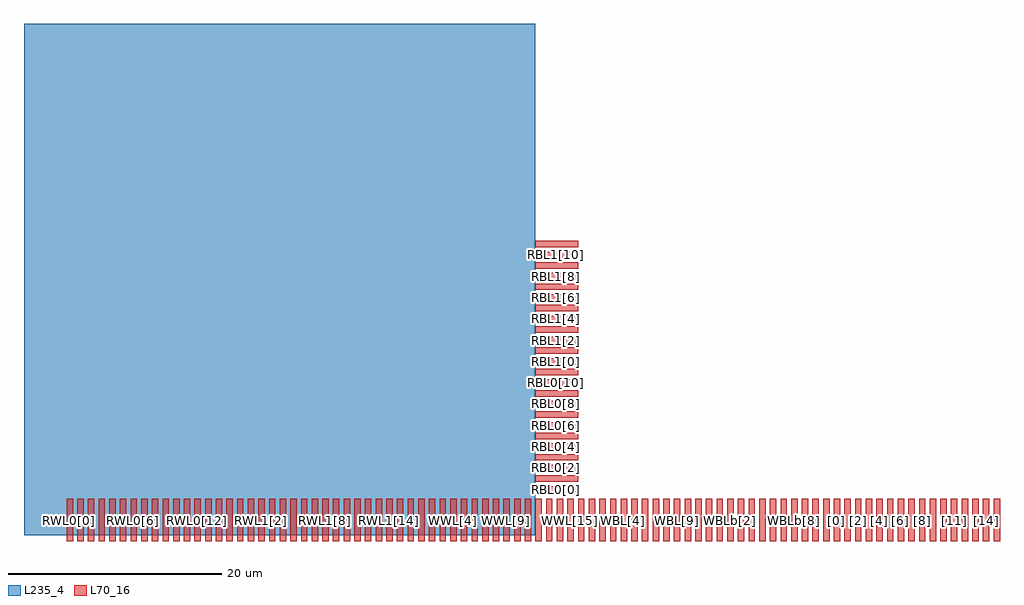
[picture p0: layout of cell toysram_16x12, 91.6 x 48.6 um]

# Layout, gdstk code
import gdstk
lib = gdstk.Library(unit=1e-6, precision=1e-09)
def R(c, l, rs):  # rectangles x0, y0, x1, y1
    for r in rs: c.add(gdstk.rectangle(r[:2], r[2:], *l))
L70_16 = (70, 16)
L235_4 = (235, 4)

rwl0_0_ = lib.new_cell('RWL0[0]')
R(rwl0_0_, L70_16, [(4,-0.6,4.6,3.4)])

rwl0_1_ = lib.new_cell('RWL0[1]')
R(rwl0_1_, L70_16, [(5,-0.6,5.6,3.4)])

rwl0_2_ = lib.new_cell('RWL0[2]')
R(rwl0_2_, L70_16, [(6,-0.6,6.6,3.4)])

rwl0_3_ = lib.new_cell('RWL0[3]')
R(rwl0_3_, L70_16, [(7,-0.6,7.6,3.4)])

rwl0_4_ = lib.new_cell('RWL0[4]')
R(rwl0_4_, L70_16, [(8,-0.6,8.6,3.4)])

rwl0_5_ = lib.new_cell('RWL0[5]')
R(rwl0_5_, L70_16, [(9,-0.6,9.6,3.4)])

rwl0_6_ = lib.new_cell('RWL0[6]')
R(rwl0_6_, L70_16, [(10,-0.6,10.6,3.4)])

rwl0_7_ = lib.new_cell('RWL0[7]')
R(rwl0_7_, L70_16, [(11,-0.6,11.6,3.4)])

rwl0_8_ = lib.new_cell('RWL0[8]')
R(rwl0_8_, L70_16, [(12,-0.6,12.6,3.4)])

rwl0_9_ = lib.new_cell('RWL0[9]')
R(rwl0_9_, L70_16, [(13,-0.6,13.6,3.4)])

rwl0_10_ = lib.new_cell('RWL0[10]')
R(rwl0_10_, L70_16, [(14,-0.6,14.6,3.4)])

rwl0_11_ = lib.new_cell('RWL0[11]')
R(rwl0_11_, L70_16, [(15,-0.6,15.6,3.4)])

rwl0_12_ = lib.new_cell('RWL0[12]')
R(rwl0_12_, L70_16, [(16,-0.6,16.6,3.4)])

rwl0_13_ = lib.new_cell('RWL0[13]')
R(rwl0_13_, L70_16, [(17,-0.6,17.6,3.4)])

rwl0_14_ = lib.new_cell('RWL0[14]')
R(rwl0_14_, L70_16, [(18,-0.6,18.6,3.4)])

rwl0_15_ = lib.new_cell('RWL0[15]')
R(rwl0_15_, L70_16, [(19,-0.6,19.6,3.4)])

rwl1_0_ = lib.new_cell('RWL1[0]')
R(rwl1_0_, L70_16, [(20,-0.6,20.6,3.4)])

rwl1_1_ = lib.new_cell('RWL1[1]')
R(rwl1_1_, L70_16, [(21,-0.6,21.6,3.4)])

rwl1_2_ = lib.new_cell('RWL1[2]')
R(rwl1_2_, L70_16, [(22,-0.6,22.6,3.4)])

rwl1_3_ = lib.new_cell('RWL1[3]')
R(rwl1_3_, L70_16, [(23,-0.6,23.6,3.4)])

rwl1_4_ = lib.new_cell('RWL1[4]')
R(rwl1_4_, L70_16, [(24,-0.6,24.6,3.4)])

rwl1_5_ = lib.new_cell('RWL1[5]')
R(rwl1_5_, L70_16, [(25,-0.6,25.6,3.4)])

rwl1_6_ = lib.new_cell('RWL1[6]')
R(rwl1_6_, L70_16, [(26,-0.6,26.6,3.4)])

rwl1_7_ = lib.new_cell('RWL1[7]')
R(rwl1_7_, L70_16, [(27,-0.6,27.6,3.4)])

rwl1_8_ = lib.new_cell('RWL1[8]')
R(rwl1_8_, L70_16, [(28,-0.6,28.6,3.4)])

rwl1_9_ = lib.new_cell('RWL1[9]')
R(rwl1_9_, L70_16, [(29,-0.6,29.6,3.4)])

rwl1_10_ = lib.new_cell('RWL1[10]')
R(rwl1_10_, L70_16, [(30,-0.6,30.6,3.4)])

rwl1_11_ = lib.new_cell('RWL1[11]')
R(rwl1_11_, L70_16, [(31,-0.6,31.6,3.4)])

rwl1_12_ = lib.new_cell('RWL1[12]')
R(rwl1_12_, L70_16, [(32,-0.6,32.6,3.4)])

rwl1_13_ = lib.new_cell('RWL1[13]')
R(rwl1_13_, L70_16, [(33,-0.6,33.6,3.4)])

rwl1_14_ = lib.new_cell('RWL1[14]')
R(rwl1_14_, L70_16, [(34,-0.6,34.6,3.4)])

rwl1_15_ = lib.new_cell('RWL1[15]')
R(rwl1_15_, L70_16, [(35,-0.6,35.6,3.4)])

wwl_0_ = lib.new_cell('WWL[0]')
R(wwl_0_, L70_16, [(36,-0.6,36.6,3.4)])

wwl_1_ = lib.new_cell('WWL[1]')
R(wwl_1_, L70_16, [(37,-0.6,37.6,3.4)])

wwl_2_ = lib.new_cell('WWL[2]')
R(wwl_2_, L70_16, [(38,-0.6,38.6,3.4)])

wwl_3_ = lib.new_cell('WWL[3]')
R(wwl_3_, L70_16, [(39,-0.6,39.6,3.4)])

wwl_4_ = lib.new_cell('WWL[4]')
R(wwl_4_, L70_16, [(40,-0.6,40.6,3.4)])

wwl_5_ = lib.new_cell('WWL[5]')
R(wwl_5_, L70_16, [(41,-0.6,41.6,3.4)])

wwl_6_ = lib.new_cell('WWL[6]')
R(wwl_6_, L70_16, [(42,-0.6,42.6,3.4)])

wwl_7_ = lib.new_cell('WWL[7]')
R(wwl_7_, L70_16, [(43,-0.6,43.6,3.4)])

wwl_8_ = lib.new_cell('WWL[8]')
R(wwl_8_, L70_16, [(44,-0.6,44.6,3.4)])

wwl_9_ = lib.new_cell('WWL[9]')
R(wwl_9_, L70_16, [(45,-0.6,45.6,3.4)])

wwl_10_ = lib.new_cell('WWL[10]')
R(wwl_10_, L70_16, [(46,-0.6,46.6,3.4)])

wwl_11_ = lib.new_cell('WWL[11]')
R(wwl_11_, L70_16, [(47,-0.6,47.6,3.4)])

wwl_12_ = lib.new_cell('WWL[12]')
R(wwl_12_, L70_16, [(48,-0.6,48.6,3.4)])

wwl_13_ = lib.new_cell('WWL[13]')
R(wwl_13_, L70_16, [(49,-0.6,49.6,3.4)])

wwl_14_ = lib.new_cell('WWL[14]')
R(wwl_14_, L70_16, [(50,-0.6,50.6,3.4)])

wwl_15_ = lib.new_cell('WWL[15]')
R(wwl_15_, L70_16, [(51,-0.6,51.6,3.4)])

rbl0_0_ = lib.new_cell('RBL0[0]')
R(rbl0_0_, L70_16, [(48,4,52,4.6)])

rbl0_1_ = lib.new_cell('RBL0[1]')
R(rbl0_1_, L70_16, [(48,5,52,5.6)])

rbl0_2_ = lib.new_cell('RBL0[2]')
R(rbl0_2_, L70_16, [(48,6,52,6.6)])

rbl0_3_ = lib.new_cell('RBL0[3]')
R(rbl0_3_, L70_16, [(48,7,52,7.6)])

rbl0_4_ = lib.new_cell('RBL0[4]')
R(rbl0_4_, L70_16, [(48,8,52,8.6)])

rbl0_5_ = lib.new_cell('RBL0[5]')
R(rbl0_5_, L70_16, [(48,9,52,9.6)])

rbl0_6_ = lib.new_cell('RBL0[6]')
R(rbl0_6_, L70_16, [(48,10,52,10.6)])

rbl0_7_ = lib.new_cell('RBL0[7]')
R(rbl0_7_, L70_16, [(48,11,52,11.6)])

rbl0_8_ = lib.new_cell('RBL0[8]')
R(rbl0_8_, L70_16, [(48,12,52,12.6)])

rbl0_9_ = lib.new_cell('RBL0[9]')
R(rbl0_9_, L70_16, [(48,13,52,13.6)])

rbl0_10_ = lib.new_cell('RBL0[10]')
R(rbl0_10_, L70_16, [(48,14,52,14.6)])

rbl0_11_ = lib.new_cell('RBL0[11]')
R(rbl0_11_, L70_16, [(48,15,52,15.6)])

rbl1_0_ = lib.new_cell('RBL1[0]')
R(rbl1_0_, L70_16, [(48,16,52,16.6)])

rbl1_1_ = lib.new_cell('RBL1[1]')
R(rbl1_1_, L70_16, [(48,17,52,17.6)])

rbl1_2_ = lib.new_cell('RBL1[2]')
R(rbl1_2_, L70_16, [(48,18,52,18.6)])

rbl1_3_ = lib.new_cell('RBL1[3]')
R(rbl1_3_, L70_16, [(48,19,52,19.6)])

rbl1_4_ = lib.new_cell('RBL1[4]')
R(rbl1_4_, L70_16, [(48,20,52,20.6)])

rbl1_5_ = lib.new_cell('RBL1[5]')
R(rbl1_5_, L70_16, [(48,21,52,21.6)])

rbl1_6_ = lib.new_cell('RBL1[6]')
R(rbl1_6_, L70_16, [(48,22,52,22.6)])

rbl1_7_ = lib.new_cell('RBL1[7]')
R(rbl1_7_, L70_16, [(48,23,52,23.6)])

rbl1_8_ = lib.new_cell('RBL1[8]')
R(rbl1_8_, L70_16, [(48,24,52,24.6)])

rbl1_9_ = lib.new_cell('RBL1[9]')
R(rbl1_9_, L70_16, [(48,25,52,25.6)])

rbl1_10_ = lib.new_cell('RBL1[10]')
R(rbl1_10_, L70_16, [(48,26,52,26.6)])

rbl1_11_ = lib.new_cell('RBL1[11]')
R(rbl1_11_, L70_16, [(48,27,52,27.6)])

wbl_0_ = lib.new_cell('WBL[0]')
R(wbl_0_, L70_16, [(52,-0.6,52.6,3.4)])

wbl_1_ = lib.new_cell('WBL[1]')
R(wbl_1_, L70_16, [(53,-0.6,53.6,3.4)])

wbl_2_ = lib.new_cell('WBL[2]')
R(wbl_2_, L70_16, [(54,-0.6,54.6,3.4)])

wbl_3_ = lib.new_cell('WBL[3]')
R(wbl_3_, L70_16, [(55,-0.6,55.6,3.4)])

wbl_4_ = lib.new_cell('WBL[4]')
R(wbl_4_, L70_16, [(56,-0.6,56.6,3.4)])

wbl_5_ = lib.new_cell('WBL[5]')
R(wbl_5_, L70_16, [(57,-0.6,57.6,3.4)])

wbl_6_ = lib.new_cell('WBL[6]')
R(wbl_6_, L70_16, [(58,-0.6,58.6,3.4)])

wbl_7_ = lib.new_cell('WBL[7]')
R(wbl_7_, L70_16, [(59,-0.6,59.6,3.4)])

wbl_8_ = lib.new_cell('WBL[8]')
R(wbl_8_, L70_16, [(60,-0.6,60.6,3.4)])

wbl_9_ = lib.new_cell('WBL[9]')
R(wbl_9_, L70_16, [(61,-0.6,61.6,3.4)])

wbl_10_ = lib.new_cell('WBL[10]')
R(wbl_10_, L70_16, [(62,-0.6,62.6,3.4)])

wbl_11_ = lib.new_cell('WBL[11]')
R(wbl_11_, L70_16, [(63,-0.6,63.6,3.4)])

wblb_0_ = lib.new_cell('WBLb[0]')
R(wblb_0_, L70_16, [(64,-0.6,64.6,3.4)])

wblb_1_ = lib.new_cell('WBLb[1]')
R(wblb_1_, L70_16, [(65,-0.6,65.6,3.4)])

wblb_2_ = lib.new_cell('WBLb[2]')
R(wblb_2_, L70_16, [(66,-0.6,66.6,3.4)])

wblb_3_ = lib.new_cell('WBLb[3]')
R(wblb_3_, L70_16, [(67,-0.6,67.6,3.4)])

wblb_4_ = lib.new_cell('WBLb[4]')
R(wblb_4_, L70_16, [(68,-0.6,68.6,3.4)])

wblb_5_ = lib.new_cell('WBLb[5]')
R(wblb_5_, L70_16, [(69,-0.6,69.6,3.4)])

wblb_6_ = lib.new_cell('WBLb[6]')
R(wblb_6_, L70_16, [(70,-0.6,70.6,3.4)])

wblb_7_ = lib.new_cell('WBLb[7]')
R(wblb_7_, L70_16, [(71,-0.6,71.6,3.4)])

wblb_8_ = lib.new_cell('WBLb[8]')
R(wblb_8_, L70_16, [(72,-0.6,72.6,3.4)])

wblb_9_ = lib.new_cell('WBLb[9]')
R(wblb_9_, L70_16, [(73,-0.6,73.6,3.4)])

wblb_10_ = lib.new_cell('WBLb[10]')
R(wblb_10_, L70_16, [(74,-0.6,74.6,3.4)])

wblb_11_ = lib.new_cell('WBLb[11]')
R(wblb_11_, L70_16, [(75,-0.6,75.6,3.4)])

c__0_ = lib.new_cell('[0]')
R(c__0_, L70_16, [(76,-0.6,76.6,3.4)])

c__1_ = lib.new_cell('[1]')
R(c__1_, L70_16, [(77,-0.6,77.6,3.4)])

c__2_ = lib.new_cell('[2]')
R(c__2_, L70_16, [(78,-0.6,78.6,3.4)])

c__3_ = lib.new_cell('[3]')
R(c__3_, L70_16, [(79,-0.6,79.6,3.4)])

c__4_ = lib.new_cell('[4]')
R(c__4_, L70_16, [(80,-0.6,80.6,3.4)])

c__5_ = lib.new_cell('[5]')
R(c__5_, L70_16, [(81,-0.6,81.6,3.4)])

c__6_ = lib.new_cell('[6]')
R(c__6_, L70_16, [(82,-0.6,82.6,3.4)])

c__7_ = lib.new_cell('[7]')
R(c__7_, L70_16, [(83,-0.6,83.6,3.4)])

c__8_ = lib.new_cell('[8]')
R(c__8_, L70_16, [(84,-0.6,84.6,3.4)])

c__9_ = lib.new_cell('[9]')
R(c__9_, L70_16, [(85,-0.6,85.6,3.4)])

c__10_ = lib.new_cell('[10]')
R(c__10_, L70_16, [(86,-0.6,86.6,3.4)])

c__11_ = lib.new_cell('[11]')
R(c__11_, L70_16, [(87,-0.6,87.6,3.4)])

c__12_ = lib.new_cell('[12]')
R(c__12_, L70_16, [(88,-0.6,88.6,3.4)])

c__13_ = lib.new_cell('[13]')
R(c__13_, L70_16, [(89,-0.6,89.6,3.4)])

c__14_ = lib.new_cell('[14]')
R(c__14_, L70_16, [(90,-0.6,90.6,3.4)])

c__15_ = lib.new_cell('[15]')
R(c__15_, L70_16, [(91,-0.6,91.6,3.4)])

toysram_16x12 = lib.new_cell('toysram_16x12')
R(toysram_16x12, L235_4, [(0,0,48,48)])
toysram_16x12.add(gdstk.Reference(rwl0_0_, (0,0)))
toysram_16x12.add(gdstk.Reference(rwl0_1_, (0,0)))
toysram_16x12.add(gdstk.Reference(rwl0_2_, (0,0)))
toysram_16x12.add(gdstk.Reference(rwl0_3_, (0,0)))
toysram_16x12.add(gdstk.Reference(rwl0_4_, (0,0)))
toysram_16x12.add(gdstk.Reference(rwl0_5_, (0,0)))
toysram_16x12.add(gdstk.Reference(rwl0_6_, (0,0)))
toysram_16x12.add(gdstk.Reference(rwl0_7_, (0,0)))
toysram_16x12.add(gdstk.Reference(rwl0_8_, (0,0)))
toysram_16x12.add(gdstk.Reference(rwl0_9_, (0,0)))
toysram_16x12.add(gdstk.Reference(rwl0_10_, (0,0)))
toysram_16x12.add(gdstk.Reference(rwl0_11_, (0,0)))
toysram_16x12.add(gdstk.Reference(rwl0_12_, (0,0)))
toysram_16x12.add(gdstk.Reference(rwl0_13_, (0,0)))
toysram_16x12.add(gdstk.Reference(rwl0_14_, (0,0)))
toysram_16x12.add(gdstk.Reference(rwl0_15_, (0,0)))
toysram_16x12.add(gdstk.Reference(rwl1_0_, (0,0)))
toysram_16x12.add(gdstk.Reference(rwl1_1_, (0,0)))
toysram_16x12.add(gdstk.Reference(rwl1_2_, (0,0)))
toysram_16x12.add(gdstk.Reference(rwl1_3_, (0,0)))
toysram_16x12.add(gdstk.Reference(rwl1_4_, (0,0)))
toysram_16x12.add(gdstk.Reference(rwl1_5_, (0,0)))
toysram_16x12.add(gdstk.Reference(rwl1_6_, (0,0)))
toysram_16x12.add(gdstk.Reference(rwl1_7_, (0,0)))
toysram_16x12.add(gdstk.Reference(rwl1_8_, (0,0)))
toysram_16x12.add(gdstk.Reference(rwl1_9_, (0,0)))
toysram_16x12.add(gdstk.Reference(rwl1_10_, (0,0)))
toysram_16x12.add(gdstk.Reference(rwl1_11_, (0,0)))
toysram_16x12.add(gdstk.Reference(rwl1_12_, (0,0)))
toysram_16x12.add(gdstk.Reference(rwl1_13_, (0,0)))
toysram_16x12.add(gdstk.Reference(rwl1_14_, (0,0)))
toysram_16x12.add(gdstk.Reference(rwl1_15_, (0,0)))
toysram_16x12.add(gdstk.Reference(wwl_0_, (0,0)))
toysram_16x12.add(gdstk.Reference(wwl_1_, (0,0)))
toysram_16x12.add(gdstk.Reference(wwl_2_, (0,0)))
toysram_16x12.add(gdstk.Reference(wwl_3_, (0,0)))
toysram_16x12.add(gdstk.Reference(wwl_4_, (0,0)))
toysram_16x12.add(gdstk.Reference(wwl_5_, (0,0)))
toysram_16x12.add(gdstk.Reference(wwl_6_, (0,0)))
toysram_16x12.add(gdstk.Reference(wwl_7_, (0,0)))
toysram_16x12.add(gdstk.Reference(wwl_8_, (0,0)))
toysram_16x12.add(gdstk.Reference(wwl_9_, (0,0)))
toysram_16x12.add(gdstk.Reference(wwl_10_, (0,0)))
toysram_16x12.add(gdstk.Reference(wwl_11_, (0,0)))
toysram_16x12.add(gdstk.Reference(wwl_12_, (0,0)))
toysram_16x12.add(gdstk.Reference(wwl_13_, (0,0)))
toysram_16x12.add(gdstk.Reference(wwl_14_, (0,0)))
toysram_16x12.add(gdstk.Reference(wwl_15_, (0,0)))
toysram_16x12.add(gdstk.Reference(rbl0_0_, (0,0)))
toysram_16x12.add(gdstk.Reference(rbl0_1_, (0,0)))
toysram_16x12.add(gdstk.Reference(rbl0_2_, (0,0)))
toysram_16x12.add(gdstk.Reference(rbl0_3_, (0,0)))
toysram_16x12.add(gdstk.Reference(rbl0_4_, (0,0)))
toysram_16x12.add(gdstk.Reference(rbl0_5_, (0,0)))
toysram_16x12.add(gdstk.Reference(rbl0_6_, (0,0)))
toysram_16x12.add(gdstk.Reference(rbl0_7_, (0,0)))
toysram_16x12.add(gdstk.Reference(rbl0_8_, (0,0)))
toysram_16x12.add(gdstk.Reference(rbl0_9_, (0,0)))
toysram_16x12.add(gdstk.Reference(rbl0_10_, (0,0)))
toysram_16x12.add(gdstk.Reference(rbl0_11_, (0,0)))
toysram_16x12.add(gdstk.Reference(rbl1_0_, (0,0)))
toysram_16x12.add(gdstk.Reference(rbl1_1_, (0,0)))
toysram_16x12.add(gdstk.Reference(rbl1_2_, (0,0)))
toysram_16x12.add(gdstk.Reference(rbl1_3_, (0,0)))
toysram_16x12.add(gdstk.Reference(rbl1_4_, (0,0)))
toysram_16x12.add(gdstk.Reference(rbl1_5_, (0,0)))
toysram_16x12.add(gdstk.Reference(rbl1_6_, (0,0)))
toysram_16x12.add(gdstk.Reference(rbl1_7_, (0,0)))
toysram_16x12.add(gdstk.Reference(rbl1_8_, (0,0)))
toysram_16x12.add(gdstk.Reference(rbl1_9_, (0,0)))
toysram_16x12.add(gdstk.Reference(rbl1_10_, (0,0)))
toysram_16x12.add(gdstk.Reference(rbl1_11_, (0,0)))
toysram_16x12.add(gdstk.Reference(wbl_0_, (0,0)))
toysram_16x12.add(gdstk.Reference(wbl_1_, (0,0)))
toysram_16x12.add(gdstk.Reference(wbl_2_, (0,0)))
toysram_16x12.add(gdstk.Reference(wbl_3_, (0,0)))
toysram_16x12.add(gdstk.Reference(wbl_4_, (0,0)))
toysram_16x12.add(gdstk.Reference(wbl_5_, (0,0)))
toysram_16x12.add(gdstk.Reference(wbl_6_, (0,0)))
toysram_16x12.add(gdstk.Reference(wbl_7_, (0,0)))
toysram_16x12.add(gdstk.Reference(wbl_8_, (0,0)))
toysram_16x12.add(gdstk.Reference(wbl_9_, (0,0)))
toysram_16x12.add(gdstk.Reference(wbl_10_, (0,0)))
toysram_16x12.add(gdstk.Reference(wbl_11_, (0,0)))
toysram_16x12.add(gdstk.Reference(wblb_0_, (0,0)))
toysram_16x12.add(gdstk.Reference(wblb_1_, (0,0)))
toysram_16x12.add(gdstk.Reference(wblb_2_, (0,0)))
toysram_16x12.add(gdstk.Reference(wblb_3_, (0,0)))
toysram_16x12.add(gdstk.Reference(wblb_4_, (0,0)))
toysram_16x12.add(gdstk.Reference(wblb_5_, (0,0)))
toysram_16x12.add(gdstk.Reference(wblb_6_, (0,0)))
toysram_16x12.add(gdstk.Reference(wblb_7_, (0,0)))
toysram_16x12.add(gdstk.Reference(wblb_8_, (0,0)))
toysram_16x12.add(gdstk.Reference(wblb_9_, (0,0)))
toysram_16x12.add(gdstk.Reference(wblb_10_, (0,0)))
toysram_16x12.add(gdstk.Reference(wblb_11_, (0,0)))
toysram_16x12.add(gdstk.Reference(c__0_, (0,0)))
toysram_16x12.add(gdstk.Reference(c__1_, (0,0)))
toysram_16x12.add(gdstk.Reference(c__2_, (0,0)))
toysram_16x12.add(gdstk.Reference(c__3_, (0,0)))
toysram_16x12.add(gdstk.Reference(c__4_, (0,0)))
toysram_16x12.add(gdstk.Reference(c__5_, (0,0)))
toysram_16x12.add(gdstk.Reference(c__6_, (0,0)))
toysram_16x12.add(gdstk.Reference(c__7_, (0,0)))
toysram_16x12.add(gdstk.Reference(c__8_, (0,0)))
toysram_16x12.add(gdstk.Reference(c__9_, (0,0)))
toysram_16x12.add(gdstk.Reference(c__10_, (0,0)))
toysram_16x12.add(gdstk.Reference(c__11_, (0,0)))
toysram_16x12.add(gdstk.Reference(c__12_, (0,0)))
toysram_16x12.add(gdstk.Reference(c__13_, (0,0)))
toysram_16x12.add(gdstk.Reference(c__14_, (0,0)))
toysram_16x12.add(gdstk.Reference(c__15_, (0,0)))
toysram_16x12.add(gdstk.Label('RWL0[0]', (4.3,1.4), layer=70, texttype=16))
toysram_16x12.add(gdstk.Label('RWL0[1]', (5.3,1.4), layer=70, texttype=16))
toysram_16x12.add(gdstk.Label('RWL0[2]', (6.3,1.4), layer=70, texttype=16))
toysram_16x12.add(gdstk.Label('RWL0[3]', (7.3,1.4), layer=70, texttype=16))
toysram_16x12.add(gdstk.Label('RWL0[4]', (8.3,1.4), layer=70, texttype=16))
toysram_16x12.add(gdstk.Label('RWL0[5]', (9.3,1.4), layer=70, texttype=16))
toysram_16x12.add(gdstk.Label('RWL0[6]', (10.3,1.4), layer=70, texttype=16))
toysram_16x12.add(gdstk.Label('RWL0[7]', (11.3,1.4), layer=70, texttype=16))
toysram_16x12.add(gdstk.Label('RWL0[8]', (12.3,1.4), layer=70, texttype=16))
toysram_16x12.add(gdstk.Label('RWL0[9]', (13.3,1.4), layer=70, texttype=16))
toysram_16x12.add(gdstk.Label('RWL0[10]', (14.3,1.4), layer=70, texttype=16))
toysram_16x12.add(gdstk.Label('RWL0[11]', (15.3,1.4), layer=70, texttype=16))
toysram_16x12.add(gdstk.Label('RWL0[12]', (16.3,1.4), layer=70, texttype=16))
toysram_16x12.add(gdstk.Label('RWL0[13]', (17.3,1.4), layer=70, texttype=16))
toysram_16x12.add(gdstk.Label('RWL0[14]', (18.3,1.4), layer=70, texttype=16))
toysram_16x12.add(gdstk.Label('RWL0[15]', (19.3,1.4), layer=70, texttype=16))
toysram_16x12.add(gdstk.Label('RWL1[0]', (20.3,1.4), layer=70, texttype=16))
toysram_16x12.add(gdstk.Label('RWL1[1]', (21.3,1.4), layer=70, texttype=16))
toysram_16x12.add(gdstk.Label('RWL1[2]', (22.3,1.4), layer=70, texttype=16))
toysram_16x12.add(gdstk.Label('RWL1[3]', (23.3,1.4), layer=70, texttype=16))
toysram_16x12.add(gdstk.Label('RWL1[4]', (24.3,1.4), layer=70, texttype=16))
toysram_16x12.add(gdstk.Label('RWL1[5]', (25.3,1.4), layer=70, texttype=16))
toysram_16x12.add(gdstk.Label('RWL1[6]', (26.3,1.4), layer=70, texttype=16))
toysram_16x12.add(gdstk.Label('RWL1[7]', (27.3,1.4), layer=70, texttype=16))
toysram_16x12.add(gdstk.Label('RWL1[8]', (28.3,1.4), layer=70, texttype=16))
toysram_16x12.add(gdstk.Label('RWL1[9]', (29.3,1.4), layer=70, texttype=16))
toysram_16x12.add(gdstk.Label('RWL1[10]', (30.3,1.4), layer=70, texttype=16))
toysram_16x12.add(gdstk.Label('RWL1[11]', (31.3,1.4), layer=70, texttype=16))
toysram_16x12.add(gdstk.Label('RWL1[12]', (32.3,1.4), layer=70, texttype=16))
toysram_16x12.add(gdstk.Label('RWL1[13]', (33.3,1.4), layer=70, texttype=16))
toysram_16x12.add(gdstk.Label('RWL1[14]', (34.3,1.4), layer=70, texttype=16))
toysram_16x12.add(gdstk.Label('RWL1[15]', (35.3,1.4), layer=70, texttype=16))
toysram_16x12.add(gdstk.Label('WWL[0]', (36.3,1.4), layer=70, texttype=16))
toysram_16x12.add(gdstk.Label('WWL[1]', (37.3,1.4), layer=70, texttype=16))
toysram_16x12.add(gdstk.Label('WWL[2]', (38.3,1.4), layer=70, texttype=16))
toysram_16x12.add(gdstk.Label('WWL[3]', (39.3,1.4), layer=70, texttype=16))
toysram_16x12.add(gdstk.Label('WWL[4]', (40.3,1.4), layer=70, texttype=16))
toysram_16x12.add(gdstk.Label('WWL[5]', (41.3,1.4), layer=70, texttype=16))
toysram_16x12.add(gdstk.Label('WWL[6]', (42.3,1.4), layer=70, texttype=16))
toysram_16x12.add(gdstk.Label('WWL[7]', (43.3,1.4), layer=70, texttype=16))
toysram_16x12.add(gdstk.Label('WWL[8]', (44.3,1.4), layer=70, texttype=16))
toysram_16x12.add(gdstk.Label('WWL[9]', (45.3,1.4), layer=70, texttype=16))
toysram_16x12.add(gdstk.Label('WWL[10]', (46.3,1.4), layer=70, texttype=16))
toysram_16x12.add(gdstk.Label('WWL[11]', (47.3,1.4), layer=70, texttype=16))
toysram_16x12.add(gdstk.Label('WWL[12]', (48.3,1.4), layer=70, texttype=16))
toysram_16x12.add(gdstk.Label('WWL[13]', (49.3,1.4), layer=70, texttype=16))
toysram_16x12.add(gdstk.Label('WWL[14]', (50.3,1.4), layer=70, texttype=16))
toysram_16x12.add(gdstk.Label('WWL[15]', (51.3,1.4), layer=70, texttype=16))
toysram_16x12.add(gdstk.Label('RBL0[0]', (50,4.3), layer=70, texttype=16))
toysram_16x12.add(gdstk.Label('RBL0[1]', (50,5.3), layer=70, texttype=16))
toysram_16x12.add(gdstk.Label('RBL0[2]', (50,6.3), layer=70, texttype=16))
toysram_16x12.add(gdstk.Label('RBL0[3]', (50,7.3), layer=70, texttype=16))
toysram_16x12.add(gdstk.Label('RBL0[4]', (50,8.3), layer=70, texttype=16))
toysram_16x12.add(gdstk.Label('RBL0[5]', (50,9.3), layer=70, texttype=16))
toysram_16x12.add(gdstk.Label('RBL0[6]', (50,10.3), layer=70, texttype=16))
toysram_16x12.add(gdstk.Label('RBL0[7]', (50,11.3), layer=70, texttype=16))
toysram_16x12.add(gdstk.Label('RBL0[8]', (50,12.3), layer=70, texttype=16))
toysram_16x12.add(gdstk.Label('RBL0[9]', (50,13.3), layer=70, texttype=16))
toysram_16x12.add(gdstk.Label('RBL0[10]', (50,14.3), layer=70, texttype=16))
toysram_16x12.add(gdstk.Label('RBL0[11]', (50,15.3), layer=70, texttype=16))
toysram_16x12.add(gdstk.Label('RBL1[0]', (50,16.3), layer=70, texttype=16))
toysram_16x12.add(gdstk.Label('RBL1[1]', (50,17.3), layer=70, texttype=16))
toysram_16x12.add(gdstk.Label('RBL1[2]', (50,18.3), layer=70, texttype=16))
toysram_16x12.add(gdstk.Label('RBL1[3]', (50,19.3), layer=70, texttype=16))
toysram_16x12.add(gdstk.Label('RBL1[4]', (50,20.3), layer=70, texttype=16))
toysram_16x12.add(gdstk.Label('RBL1[5]', (50,21.3), layer=70, texttype=16))
toysram_16x12.add(gdstk.Label('RBL1[6]', (50,22.3), layer=70, texttype=16))
toysram_16x12.add(gdstk.Label('RBL1[7]', (50,23.3), layer=70, texttype=16))
toysram_16x12.add(gdstk.Label('RBL1[8]', (50,24.3), layer=70, texttype=16))
toysram_16x12.add(gdstk.Label('RBL1[9]', (50,25.3), layer=70, texttype=16))
toysram_16x12.add(gdstk.Label('RBL1[10]', (50,26.3), layer=70, texttype=16))
toysram_16x12.add(gdstk.Label('RBL1[11]', (50,27.3), layer=70, texttype=16))
toysram_16x12.add(gdstk.Label('WBL[0]', (52.3,1.4), layer=70, texttype=16))
toysram_16x12.add(gdstk.Label('WBL[1]', (53.3,1.4), layer=70, texttype=16))
toysram_16x12.add(gdstk.Label('WBL[2]', (54.3,1.4), layer=70, texttype=16))
toysram_16x12.add(gdstk.Label('WBL[3]', (55.3,1.4), layer=70, texttype=16))
toysram_16x12.add(gdstk.Label('WBL[4]', (56.3,1.4), layer=70, texttype=16))
toysram_16x12.add(gdstk.Label('WBL[5]', (57.3,1.4), layer=70, texttype=16))
toysram_16x12.add(gdstk.Label('WBL[6]', (58.3,1.4), layer=70, texttype=16))
toysram_16x12.add(gdstk.Label('WBL[7]', (59.3,1.4), layer=70, texttype=16))
toysram_16x12.add(gdstk.Label('WBL[8]', (60.3,1.4), layer=70, texttype=16))
toysram_16x12.add(gdstk.Label('WBL[9]', (61.3,1.4), layer=70, texttype=16))
toysram_16x12.add(gdstk.Label('WBL[10]', (62.3,1.4), layer=70, texttype=16))
toysram_16x12.add(gdstk.Label('WBL[11]', (63.3,1.4), layer=70, texttype=16))
toysram_16x12.add(gdstk.Label('WBLb[0]', (64.3,1.4), layer=70, texttype=16))
toysram_16x12.add(gdstk.Label('WBLb[1]', (65.3,1.4), layer=70, texttype=16))
toysram_16x12.add(gdstk.Label('WBLb[2]', (66.3,1.4), layer=70, texttype=16))
toysram_16x12.add(gdstk.Label('WBLb[3]', (67.3,1.4), layer=70, texttype=16))
toysram_16x12.add(gdstk.Label('WBLb[4]', (68.3,1.4), layer=70, texttype=16))
toysram_16x12.add(gdstk.Label('WBLb[5]', (69.3,1.4), layer=70, texttype=16))
toysram_16x12.add(gdstk.Label('WBLb[6]', (70.3,1.4), layer=70, texttype=16))
toysram_16x12.add(gdstk.Label('WBLb[7]', (71.3,1.4), layer=70, texttype=16))
toysram_16x12.add(gdstk.Label('WBLb[8]', (72.3,1.4), layer=70, texttype=16))
toysram_16x12.add(gdstk.Label('WBLb[9]', (73.3,1.4), layer=70, texttype=16))
toysram_16x12.add(gdstk.Label('WBLb[10]', (74.3,1.4), layer=70, texttype=16))
toysram_16x12.add(gdstk.Label('WBLb[11]', (75.3,1.4), layer=70, texttype=16))
toysram_16x12.add(gdstk.Label('[0]', (76.3,1.4), layer=70, texttype=16))
toysram_16x12.add(gdstk.Label('[1]', (77.3,1.4), layer=70, texttype=16))
toysram_16x12.add(gdstk.Label('[2]', (78.3,1.4), layer=70, texttype=16))
toysram_16x12.add(gdstk.Label('[3]', (79.3,1.4), layer=70, texttype=16))
toysram_16x12.add(gdstk.Label('[4]', (80.3,1.4), layer=70, texttype=16))
toysram_16x12.add(gdstk.Label('[5]', (81.3,1.4), layer=70, texttype=16))
toysram_16x12.add(gdstk.Label('[6]', (82.3,1.4), layer=70, texttype=16))
toysram_16x12.add(gdstk.Label('[7]', (83.3,1.4), layer=70, texttype=16))
toysram_16x12.add(gdstk.Label('[8]', (84.3,1.4), layer=70, texttype=16))
toysram_16x12.add(gdstk.Label('[9]', (85.3,1.4), layer=70, texttype=16))
toysram_16x12.add(gdstk.Label('[10]', (86.3,1.4), layer=70, texttype=16))
toysram_16x12.add(gdstk.Label('[11]', (87.3,1.4), layer=70, texttype=16))
toysram_16x12.add(gdstk.Label('[12]', (88.3,1.4), layer=70, texttype=16))
toysram_16x12.add(gdstk.Label('[13]', (89.3,1.4), layer=70, texttype=16))
toysram_16x12.add(gdstk.Label('[14]', (90.3,1.4), layer=70, texttype=16))
toysram_16x12.add(gdstk.Label('[15]', (91.3,1.4), layer=70, texttype=16))

lib.write_gds('toysram_16x12.gds')
